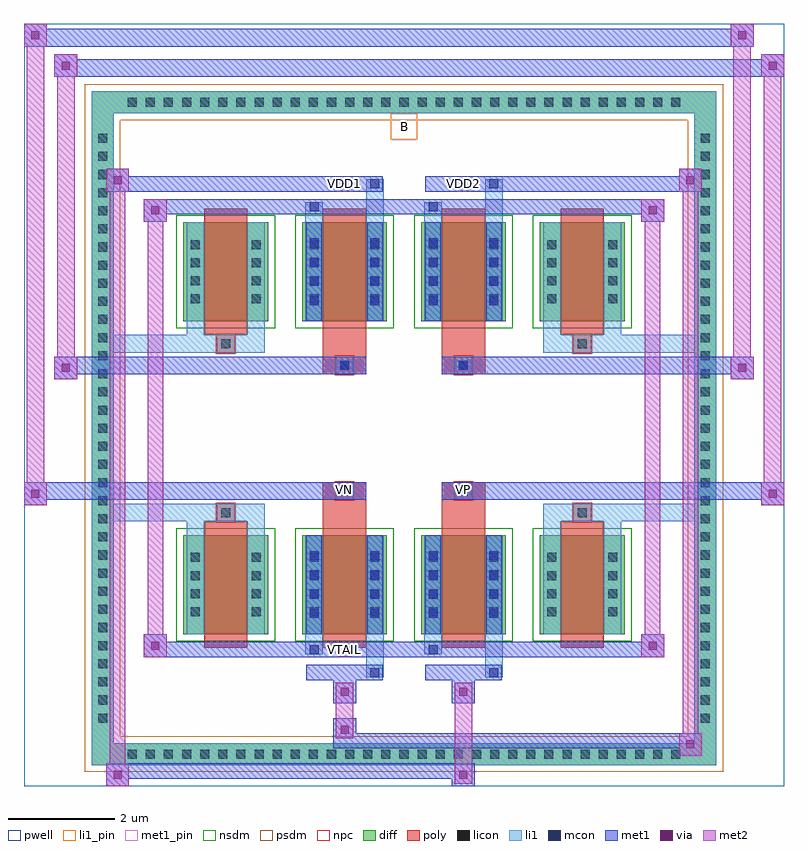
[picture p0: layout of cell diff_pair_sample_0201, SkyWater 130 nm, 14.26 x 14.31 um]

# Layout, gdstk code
import gdstk
lib = gdstk.Library(unit=1e-6, precision=5e-09)
def R(c, l, rs):  # rectangles x0, y0, x1, y1
    for r in rs: c.add(gdstk.rectangle(r[:2], r[2:], *l))
def A(c, l, x, y, w, h, nx, ny, dx, dy):  # array of equal rectangles
    R(c, l, [(x+i*dx, y+j*dy, x+i*dx+w, y+j*dy+h) for i in range(nx) for j in range(ny)])
def P(c, l, *ps):  # polygons
    for p in ps: c.add(gdstk.Polygon(p, *l))
pwell = (64, 44)
diff = (65, 20)
poly = (66, 20)
licon = (66, 44)
li1_pin = (67, 16)
li1 = (67, 20)
mcon = (67, 44)
met1_pin = (68, 16)
met1 = (68, 20)
via = (68, 44)
met2 = (69, 20)
nsdm = (93, 44)
psdm = (94, 20)
npc = (95, 20)

diff_pair_sample_0201 = lib.new_cell('diff_pair_sample_0201')
R(diff_pair_sample_0201, pwell, [(-7.13,-6.72,7.13,7.59), (-4.45,-4.91,-0.01,-0.815), (0.01,-4.91,4.45,-0.815), (-4.45,0.815,-0.01,4.91), (0.01,0.815,4.45,4.91)])
A(diff_pair_sample_0201, diff, -5.305, -6.32, 0.41, 0.41, 31, 2, 0.34, 12.23)
A(diff_pair_sample_0201, diff, -5.86, -5.645, 0.41, 0.41, 1, 33, 0, 0.34)
A(diff_pair_sample_0201, diff, 5.45, -5.645, 0.41, 0.41, 1, 33, 0, 0.34)
A(diff_pair_sample_0201, diff, -4.14, -3.865, 1.59, 1.86, 4, 2, 2.23, 5.87)
R(diff_pair_sample_0201, diff, [(-5.305,-6.32,5.305,-5.91), (-5.86,-5.645,-5.45,5.645), (5.45,-5.645,5.86,5.645), (-5.305,5.91,5.305,6.32)])
P(diff_pair_sample_0201, diff, [(5.86,6.32),(-5.86,6.32),(-5.86,-5.91),(-5.45,-5.91),(-5.45,5.91),(5.45,5.91),(5.45,-5.91),(-5.45,-5.91),(-5.86,-5.91),(-5.86,-6.32),(5.86,-6.32)])
A(diff_pair_sample_0201, poly, -3.75, -4.12, 0.81, 2.37, 4, 2, 2.23, 5.87)
R(diff_pair_sample_0201, poly, [(-3.51,-1.75,-3.18,-1.42), (-3.51,-1.75,-3.18,-1.42), (-1.52,-1.75,-0.71,-1.345), (0.71,-1.75,1.52,-1.345), (3.18,-1.75,3.51,-1.42), (3.18,-1.75,3.51,-1.42), (-1.52,-1.345,-0.71,-1.015), (-1.28,-1.345,-0.95,-1.015), (0.71,-1.345,1.52,-1.015), (0.95,-1.345,1.28,-1.015), (-1.52,1.015,-0.71,1.345), (-1.28,1.015,-0.95,1.345), (0.71,1.015,1.52,1.345), (0.95,1.015,1.28,1.345), (-1.52,1.345,-0.71,1.75), (0.71,1.345,1.52,1.75), (-3.51,1.42,-3.18,1.75), (-3.51,1.42,-3.18,1.75), (3.18,1.42,3.51,1.75), (3.18,1.42,3.51,1.75)])
A(diff_pair_sample_0201, licon, -5.185, -6.2, 0.17, 0.17, 31, 2, 0.34, 12.23)
A(diff_pair_sample_0201, licon, -5.74, -5.525, 0.17, 0.17, 1, 33, 0, 0.34)
A(diff_pair_sample_0201, licon, 5.57, -5.525, 0.17, 0.17, 1, 33, 0, 0.34)
A(diff_pair_sample_0201, licon, -4, -3.53, 0.17, 0.17, 1, 4, 0, 0.34)
A(diff_pair_sample_0201, licon, -2.86, -3.53, 0.17, 0.17, 1, 4, 0, 0.34)
A(diff_pair_sample_0201, licon, -1.77, -3.53, 0.17, 0.17, 1, 4, 0, 0.34)
A(diff_pair_sample_0201, licon, -0.63, -3.53, 0.17, 0.17, 1, 4, 0, 0.34)
A(diff_pair_sample_0201, licon, 0.46, -3.53, 0.17, 0.17, 1, 4, 0, 0.34)
A(diff_pair_sample_0201, licon, 1.6, -3.53, 0.17, 0.17, 1, 4, 0, 0.34)
A(diff_pair_sample_0201, licon, 2.69, -3.53, 0.17, 0.17, 1, 4, 0, 0.34)
A(diff_pair_sample_0201, licon, 3.83, -3.53, 0.17, 0.17, 1, 4, 0, 0.34)
A(diff_pair_sample_0201, licon, -4, 2.34, 0.17, 0.17, 1, 4, 0, 0.34)
A(diff_pair_sample_0201, licon, -2.86, 2.34, 0.17, 0.17, 1, 4, 0, 0.34)
A(diff_pair_sample_0201, licon, -1.77, 2.34, 0.17, 0.17, 1, 4, 0, 0.34)
A(diff_pair_sample_0201, licon, -0.63, 2.34, 0.17, 0.17, 1, 4, 0, 0.34)
A(diff_pair_sample_0201, licon, 0.46, 2.34, 0.17, 0.17, 1, 4, 0, 0.34)
A(diff_pair_sample_0201, licon, 1.6, 2.34, 0.17, 0.17, 1, 4, 0, 0.34)
A(diff_pair_sample_0201, licon, 2.69, 2.34, 0.17, 0.17, 1, 4, 0, 0.34)
A(diff_pair_sample_0201, licon, 3.83, 2.34, 0.17, 0.17, 1, 4, 0, 0.34)
R(diff_pair_sample_0201, licon, [(-3.43,-1.67,-3.26,-1.5), (3.26,-1.67,3.43,-1.5), (-1.2,-1.265,-1.03,-1.095), (1.03,-1.265,1.2,-1.095), (-1.2,1.095,-1.03,1.265), (1.03,1.095,1.2,1.265), (-3.43,1.5,-3.26,1.67), (3.26,1.5,3.43,1.67)])
R(diff_pair_sample_0201, li1_pin, [(-0.25,5.41,0.25,5.91)])
A(diff_pair_sample_0201, li1, -5.265, -6.28, 0.33, 0.33, 31, 2, 0.34, 12.23)
A(diff_pair_sample_0201, li1, -5.82, -5.605, 0.33, 0.33, 1, 33, 0, 0.34)
A(diff_pair_sample_0201, li1, 5.49, -5.605, 0.33, 0.33, 1, 33, 0, 0.34)
A(diff_pair_sample_0201, li1, -4.08, -3.61, 0.33, 0.33, 1, 4, 0, 0.34)
A(diff_pair_sample_0201, li1, -2.94, -3.61, 0.33, 0.33, 1, 4, 0, 0.34)
A(diff_pair_sample_0201, li1, -1.85, -3.61, 0.33, 0.33, 1, 4, 0, 0.34)
A(diff_pair_sample_0201, li1, -0.71, -3.61, 0.33, 0.33, 1, 4, 0, 0.34)
A(diff_pair_sample_0201, li1, 0.38, -3.61, 0.33, 0.33, 1, 4, 0, 0.34)
A(diff_pair_sample_0201, li1, 1.52, -3.61, 0.33, 0.33, 1, 4, 0, 0.34)
A(diff_pair_sample_0201, li1, 2.61, -3.61, 0.33, 0.33, 1, 4, 0, 0.34)
A(diff_pair_sample_0201, li1, 3.75, -3.61, 0.33, 0.33, 1, 4, 0, 0.34)
A(diff_pair_sample_0201, li1, -1.77, -3.56, 0.17, 0.17, 1, 4, 0, 0.36)
A(diff_pair_sample_0201, li1, -0.63, -3.56, 0.17, 0.17, 1, 4, 0, 0.36)
A(diff_pair_sample_0201, li1, 0.46, -3.56, 0.17, 0.17, 1, 4, 0, 0.36)
A(diff_pair_sample_0201, li1, 1.6, -3.56, 0.17, 0.17, 1, 4, 0, 0.36)
A(diff_pair_sample_0201, li1, -4.08, 2.26, 0.33, 0.33, 1, 4, 0, 0.34)
A(diff_pair_sample_0201, li1, -2.94, 2.26, 0.33, 0.33, 1, 4, 0, 0.34)
A(diff_pair_sample_0201, li1, -1.85, 2.26, 0.33, 0.33, 1, 4, 0, 0.34)
A(diff_pair_sample_0201, li1, -0.71, 2.26, 0.33, 0.33, 1, 4, 0, 0.34)
A(diff_pair_sample_0201, li1, 0.38, 2.26, 0.33, 0.33, 1, 4, 0, 0.34)
A(diff_pair_sample_0201, li1, 1.52, 2.26, 0.33, 0.33, 1, 4, 0, 0.34)
A(diff_pair_sample_0201, li1, 2.61, 2.26, 0.33, 0.33, 1, 4, 0, 0.34)
A(diff_pair_sample_0201, li1, 3.75, 2.26, 0.33, 0.33, 1, 4, 0, 0.34)
A(diff_pair_sample_0201, li1, -1.77, 2.31, 0.17, 0.17, 1, 4, 0, 0.36)
A(diff_pair_sample_0201, li1, -0.63, 2.31, 0.17, 0.17, 1, 4, 0, 0.36)
A(diff_pair_sample_0201, li1, 0.46, 2.31, 0.17, 0.17, 1, 4, 0, 0.36)
A(diff_pair_sample_0201, li1, 1.6, 2.31, 0.17, 0.17, 1, 4, 0, 0.36)
R(diff_pair_sample_0201, li1, [(-5.86,-6.32,-5.45,-5.91), (-5.86,-6.32,-5.45,-5.91), (-5.45,-6.32,5.45,-5.91), (5.45,-6.32,5.86,-5.91), (5.45,-6.32,5.86,-5.91), (-5.86,-5.91,-5.45,5.91), (5.45,-5.91,5.86,5.91), (-0.71,-4.67,-0.38,-3.865), (-0.63,-4.67,-0.46,-4.5), (1.52,-4.67,1.85,-3.865), (1.6,-4.67,1.77,-4.5), (-1.85,-4.24,-1.52,-3.865), (-1.77,-4.24,-1.6,-4.07), (0.38,-4.24,0.71,-3.865), (0.46,-4.24,0.63,-4.07), (-4.08,-3.865,-3.75,-2.005), (-2.94,-3.865,-2.61,-2.005), (-1.85,-3.865,-1.52,-2.005), (-0.71,-3.865,-0.38,-2.005), (0.38,-3.865,0.71,-2.005), (1.52,-3.865,1.85,-2.005), (2.61,-3.865,2.94,-2.005), (3.75,-3.865,4.08,-2.005), (-1.77,-3.56,-1.6,-2.31), (-0.63,-3.56,-0.46,-2.31), (0.46,-3.56,0.63,-2.31), (1.6,-3.56,1.77,-2.31), (-4.08,-2.005,-3.75,-1.42), (-2.94,-2.005,-2.61,-1.42), (2.61,-2.005,2.94,-1.42), (3.75,-2.005,4.08,-1.42), (-5.86,-1.75,-3.51,-1.42), (-4.08,-1.75,-3.51,-1.42), (-3.51,-1.75,-3.18,-1.42), (-3.18,-1.75,-2.61,-1.42), (2.61,-1.75,3.18,-1.42), (3.18,-1.75,3.51,-1.42), (3.18,-1.75,5.86,-1.42), (3.51,-1.75,4.08,-1.42), (-1.28,-1.345,-0.95,-1.015), (0.95,-1.345,1.28,-1.015), (-1.28,1.015,-0.95,1.345), (0.95,1.015,1.28,1.345), (-5.86,1.42,-3.51,1.75), (-4.08,1.42,-3.51,1.75), (-4.08,1.42,-3.75,2.005), (-3.51,1.42,-3.18,1.75), (-3.18,1.42,-2.61,1.75), (-2.94,1.42,-2.61,2.005), (2.61,1.42,3.18,1.75), (2.61,1.42,2.94,2.005), (3.18,1.42,3.51,1.75), (3.18,1.42,5.86,1.75), (3.51,1.42,4.08,1.75), (3.75,1.42,4.08,2.005), (-4.08,2.005,-3.75,3.865), (-2.94,2.005,-2.61,3.865), (-1.85,2.005,-1.52,3.865), (-0.71,2.005,-0.38,3.865), (0.38,2.005,0.71,3.865), (1.52,2.005,1.85,3.865), (2.61,2.005,2.94,3.865), (3.75,2.005,4.08,3.865), (-1.77,2.31,-1.6,3.56), (-0.63,2.31,-0.46,3.56), (0.46,2.31,0.63,3.56), (1.6,2.31,1.77,3.56), (-1.85,3.865,-1.52,4.24), (-0.71,3.865,-0.38,4.67), (0.38,3.865,0.71,4.24), (1.52,3.865,1.85,4.67), (-1.77,4.07,-1.6,4.24), (0.46,4.07,0.63,4.24), (-0.63,4.5,-0.46,4.67), (1.6,4.5,1.77,4.67), (-5.86,5.91,-5.45,6.32), (-5.86,5.91,-5.45,6.32), (-5.45,5.91,5.45,6.32), (5.45,5.91,5.86,6.32), (5.45,5.91,5.86,6.32)])
A(diff_pair_sample_0201, mcon, -1.77, -3.56, 0.17, 0.17, 1, 4, 0, 0.36)
A(diff_pair_sample_0201, mcon, -0.63, -3.56, 0.17, 0.17, 1, 4, 0, 0.36)
A(diff_pair_sample_0201, mcon, 0.46, -3.56, 0.17, 0.17, 1, 4, 0, 0.36)
A(diff_pair_sample_0201, mcon, 1.6, -3.56, 0.17, 0.17, 1, 4, 0, 0.36)
A(diff_pair_sample_0201, mcon, -1.77, 2.31, 0.17, 0.17, 1, 4, 0, 0.36)
A(diff_pair_sample_0201, mcon, -0.63, 2.31, 0.17, 0.17, 1, 4, 0, 0.36)
A(diff_pair_sample_0201, mcon, 0.46, 2.31, 0.17, 0.17, 1, 4, 0, 0.36)
A(diff_pair_sample_0201, mcon, 1.6, 2.31, 0.17, 0.17, 1, 4, 0, 0.36)
R(diff_pair_sample_0201, mcon, [(-0.63,-4.67,-0.46,-4.5), (1.6,-4.67,1.77,-4.5), (-1.77,-4.24,-1.6,-4.07), (0.46,-4.24,0.63,-4.07), (-1.2,-1.265,-1.03,-1.095), (1.03,-1.265,1.2,-1.095), (-1.2,1.095,-1.03,1.265), (1.03,1.095,1.2,1.265), (-1.77,4.07,-1.6,4.24), (0.46,4.07,0.63,4.24), (-0.63,4.5,-0.46,4.67), (1.6,4.5,1.77,4.67)])
R(diff_pair_sample_0201, met1_pin, [(-1.25,-4.28,-0.98,-4.01), (-1.25,-1.285,-0.98,-1.015), (0.98,-1.285,1.25,-1.015), (-1.25,4.46,-0.98,4.73), (0.98,4.46,1.25,4.73)])
A(diff_pair_sample_0201, met1, -1.83, -3.62, 0.29, 0.29, 1, 4, 0, 0.36)
A(diff_pair_sample_0201, met1, -0.69, -3.62, 0.29, 0.29, 1, 4, 0, 0.36)
A(diff_pair_sample_0201, met1, 0.4, -3.62, 0.29, 0.29, 1, 4, 0, 0.36)
A(diff_pair_sample_0201, met1, 1.54, -3.62, 0.29, 0.29, 1, 4, 0, 0.36)
A(diff_pair_sample_0201, met1, -1.83, 2.25, 0.29, 0.29, 1, 4, 0, 0.36)
A(diff_pair_sample_0201, met1, -0.69, 2.25, 0.29, 0.29, 1, 4, 0, 0.36)
A(diff_pair_sample_0201, met1, 0.4, 2.25, 0.29, 0.29, 1, 4, 0, 0.36)
A(diff_pair_sample_0201, met1, 1.54, 2.25, 0.29, 0.29, 1, 4, 0, 0.36)
R(diff_pair_sample_0201, met1, [(-5.59,-6.72,-5.16,-6.29), (0.9,-6.72,1.33,-6.29), (-5.59,-6.58,1.33,-6.29), (5.16,-6.15,5.59,-5.72), (-1.33,-6.01,5.59,-5.72), (-1.33,-5.87,-0.9,-5.44), (-1.33,-5.16,-0.9,-4.73), (0.9,-5.16,1.33,-4.73), (-1.83,-4.73,-0.4,-4.44), (-0.69,-4.73,-0.4,-4.44), (0.4,-4.73,1.83,-4.44), (1.54,-4.73,1.83,-4.44), (-4.88,-4.3,-4.45,-3.87), (-4.88,-4.3,-1.83,-4.01), (-1.83,-4.3,-1.54,-4.01), (-1.83,-4.3,-0.4,-4.01), (-0.4,-4.3,0.4,-4.01), (0.4,-4.3,0.69,-4.01), (0.4,-4.3,1.83,-4.01), (1.83,-4.3,4.88,-4.01), (4.45,-4.3,4.88,-3.87), (-1.83,-3.865,-1.54,-2.005), (-0.69,-3.865,-0.4,-2.005), (0.4,-3.865,0.69,-2.005), (1.54,-3.865,1.83,-2.005), (-7.13,-1.445,-6.7,-1.015), (6.7,-1.445,7.13,-1.015), (-7.13,-1.345,-0.71,-1.015), (-1.52,-1.345,-0.71,-1.015), (0.71,-1.345,1.52,-1.015), (0.71,-1.345,7.13,-1.015), (-1.26,-1.325,-0.97,-1.035), (0.97,-1.325,1.26,-1.035), (-6.56,0.915,-6.13,1.345), (6.13,0.915,6.56,1.345), (-6.56,1.015,-1.52,1.345), (-1.52,1.015,-0.71,1.345), (0.71,1.015,1.52,1.345), (1.52,1.015,6.56,1.345), (-1.26,1.035,-0.97,1.325), (0.97,1.035,1.26,1.325), (-1.83,2.005,-1.54,3.865), (-0.69,2.005,-0.4,3.865), (0.4,2.005,0.69,3.865), (1.54,2.005,1.83,3.865), (-4.88,3.87,-4.45,4.3), (4.45,3.87,4.88,4.3), (-4.88,4.01,-1.83,4.3), (-1.83,4.01,-1.54,4.3), (-1.83,4.01,-0.4,4.3), (-0.4,4.01,0.4,4.3), (0.4,4.01,0.69,4.3), (0.4,4.01,1.83,4.3), (1.83,4.01,4.88,4.3), (-5.59,4.44,-5.16,4.87), (-5.59,4.44,-1.83,4.73), (-1.83,4.44,-0.4,4.73), (-0.69,4.44,-0.4,4.73), (0.4,4.44,1.83,4.73), (1.54,4.44,1.83,4.73), (1.83,4.44,5.59,4.73), (5.16,4.44,5.59,4.87), (-6.56,6.59,-6.13,7.02), (-6.56,6.59,-4.45,6.92), (-4.45,6.59,4.45,6.92), (4.45,6.59,7.13,6.92), (6.7,6.59,7.13,7.02), (-7.13,7.16,-6.7,7.59), (-7.13,7.16,-4.45,7.49), (-4.45,7.16,4.45,7.49), (4.45,7.16,6.56,7.49), (6.13,7.16,6.56,7.59)])
R(diff_pair_sample_0201, via, [(-5.45,-6.58,-5.3,-6.43), (1.04,-6.58,1.19,-6.43), (5.3,-6.01,5.45,-5.86), (-1.19,-5.73,-1.04,-5.58), (-1.19,-5.02,-1.04,-4.87), (1.04,-5.02,1.19,-4.87), (-4.74,-4.16,-4.59,-4.01), (4.59,-4.16,4.74,-4.01), (-6.99,-1.305,-6.84,-1.155), (6.84,-1.305,6.99,-1.155), (-6.42,1.055,-6.27,1.205), (6.27,1.055,6.42,1.205), (-4.74,4.01,-4.59,4.16), (4.59,4.01,4.74,4.16), (-5.45,4.58,-5.3,4.73), (5.3,4.58,5.45,4.73), (-6.42,6.73,-6.27,6.88), (6.84,6.73,6.99,6.88), (-6.99,7.3,-6.84,7.45), (6.27,7.3,6.42,7.45)])
R(diff_pair_sample_0201, met2, [(-5.59,-6.72,-5.16,-6.29), (-5.52,-6.72,-5.23,4.87), (-5.23,-6.72,-5.16,-6.29), (-5.54,-6.67,-5.21,-6.34), (0.95,-6.67,1.28,-6.34), (0.95,-6.34,1.28,-5.11), (5.16,-6.15,5.59,-5.72), (5.23,-6.15,5.52,4.87), (5.52,-6.15,5.59,-5.72), (5.21,-6.1,5.54,-5.77), (-1.28,-5.82,-0.95,-5.49), (-1.28,-5.49,-0.95,-5.11), (-1.28,-5.11,-0.95,-4.78), (0.95,-5.11,1.28,-4.78), (-4.88,-4.3,-4.45,-3.87), (-4.81,-4.3,-4.52,4.3), (-4.52,-4.3,-4.45,-3.87), (4.45,-4.3,4.88,-3.87), (4.52,-4.3,4.81,4.3), (4.81,-4.3,4.88,-3.87), (-4.83,-4.25,-4.5,-3.92), (4.5,-4.25,4.83,-3.92), (-7.13,-1.445,-6.7,-1.015), (-7.08,-1.445,-6.75,7.59), (-6.75,-1.445,-6.7,-1.015), (6.7,-1.445,7.13,-1.015), (6.75,-1.445,7.08,7.02), (7.08,-1.445,7.13,-1.015), (-7.08,-1.395,-6.75,-1.065), (6.75,-1.395,7.08,-1.065), (-6.56,0.915,-6.13,1.345), (-6.51,0.915,-6.18,7.02), (-6.18,0.915,-6.13,1.345), (6.13,0.915,6.56,1.345), (6.18,0.915,6.51,7.59), (6.51,0.915,6.56,1.345), (-6.51,0.965,-6.18,1.295), (6.18,0.965,6.51,1.295), (-4.88,3.87,-4.45,4.3), (-4.52,3.87,-4.45,4.3), (4.45,3.87,4.88,4.3), (4.81,3.87,4.88,4.3), (-4.83,3.92,-4.5,4.25), (4.5,3.92,4.83,4.25), (-5.59,4.44,-5.16,4.87), (-5.23,4.44,-5.16,4.87), (5.16,4.44,5.59,4.87), (5.52,4.44,5.59,4.87), (-5.54,4.49,-5.21,4.82), (5.21,4.49,5.54,4.82), (-6.56,6.59,-6.13,7.02), (-6.18,6.59,-6.13,7.02), (6.7,6.59,7.13,7.02), (7.08,6.59,7.13,7.02), (-6.51,6.64,-6.18,6.97), (6.75,6.64,7.08,6.97), (-7.13,7.16,-6.7,7.59), (-6.75,7.16,-6.7,7.59), (6.13,7.16,6.56,7.59), (6.51,7.16,6.56,7.59), (-7.08,7.21,-6.75,7.54), (6.18,7.21,6.51,7.54)])
A(diff_pair_sample_0201, nsdm, -4.27, -3.995, 1.85, 2.12, 4, 2, 2.23, 5.87)
P(diff_pair_sample_0201, psdm, [(5.99,6.45),(-5.99,6.45),(-5.99,-5.78),(-5.32,-5.78),(-5.32,5.78),(5.32,5.78),(5.32,-5.78),(-5.32,-5.78),(-5.99,-5.78),(-5.99,-6.45),(5.99,-6.45)])
R(diff_pair_sample_0201, npc, [(-3.53,-1.77,-3.16,-1.4), (3.16,-1.77,3.53,-1.4), (-1.3,-1.365,-0.93,-0.995), (0.93,-1.365,1.3,-0.995), (-1.3,0.995,-0.93,1.365), (0.93,0.995,1.3,1.365), (-3.53,1.4,-3.16,1.77), (3.16,1.4,3.53,1.77)])
diff_pair_sample_0201.add(gdstk.Label('VTAIL', (-1.115,-4.145), layer=68, texttype=5))
diff_pair_sample_0201.add(gdstk.Label('VN', (-1.115,-1.15), layer=68, texttype=5))
diff_pair_sample_0201.add(gdstk.Label('VP', (1.115,-1.15), layer=68, texttype=5))
diff_pair_sample_0201.add(gdstk.Label('B', (0,5.66), layer=67, texttype=5))
diff_pair_sample_0201.add(gdstk.Label('VDD2', (1.115,4.595), layer=68, texttype=5))
diff_pair_sample_0201.add(gdstk.Label('VDD1', (-1.115,4.595), layer=68, texttype=5))

lib.write_gds('diff_pair_sample_0201.gds')
